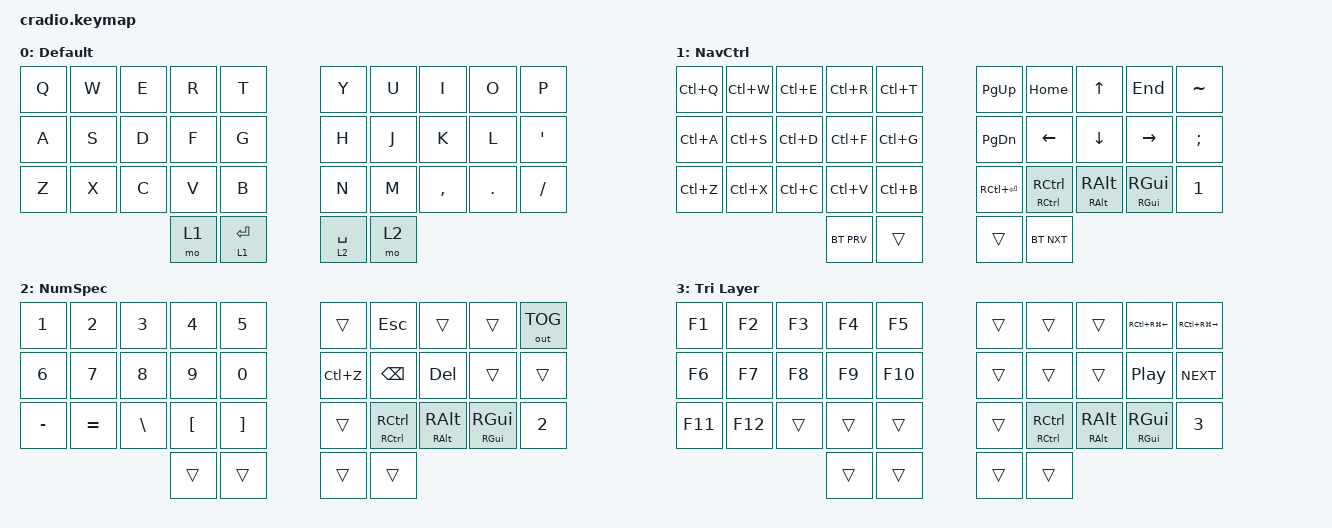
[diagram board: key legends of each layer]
// Copyright (c) 2022 The ZMK Contributors
// SPDX-License-Identifier: MIT

#include <behaviors.dtsi>
#include <dt-bindings/zmk/bt.h>
#include <dt-bindings/zmk/keys.h>
#include <dt-bindings/zmk/outputs.h>

&sk { release-after-ms = <3000>; };

/ {
    behaviors {
        osm: one_shot_mod {
            compatible = "zmk,behavior-hold-tap";
            #binding-cells = <2>;
            flavor = "balanced";
            tapping-term-ms = <200>;
            bindings = <&kp>, <&sk>;

            hold-while-undecided-linger;
        };
    };

    combos {
        compatible = "zmk,combos";

        combo_bootloader {
            timeout-ms = <100>;
            key-positions = <10 19>;
            bindings = <&bootloader>;
            layers = <3>;
        };

        combo_sys_reset {
            timeout-ms = <100>;
            key-positions = <0 9>;
            bindings = <&sys_reset>;
            layers = <3>;
        };

        unlock_studio {
            bindings = <&studio_unlock>;
            key-positions = <0 10>;
        };
    };

    conditional_layers {
        compatible = "zmk,conditional-layers";

        tri_layer {
            if-layers = <1 2>;
            then-layer = <3>;
        };
    };

    keymap {
        compatible = "zmk,keymap";

        default {
            display-name = "Default";
            bindings = <
&kp Q  &kp W  &kp E  &kp R  &kp T          &kp Y        &kp U  &kp I      &kp O    &kp P
&kp A  &kp S  &kp D  &kp F  &kp G          &kp H        &kp J  &kp K      &kp L    &kp APOS
&kp Z  &kp X  &kp C  &kp V  &kp B          &kp N        &kp M  &kp COMMA  &kp DOT  &kp FSLH
                     &mo 1  &lt 1 ENTER    &lt 2 SPACE  &mo 2
            >;
        };

        navctrl {
            display-name = "NavCtrl";
            bindings = <
&kp LC(Q)  &kp LC(W)  &kp LC(E)  &kp LC(R)   &kp LC(T)    &kp PG_UP      &kp HOME          &kp UP          &kp END         &kp TILDE
&kp LC(A)  &kp LC(S)  &kp LC(D)  &kp LC(F)   &kp LC(G)    &kp PG_DN      &kp LEFT          &kp DOWN        &kp RIGHT       &kp SEMI
&kp LC(Z)  &kp LC(X)  &kp LC(C)  &kp LC(V)   &kp LC(B)    &kp RC(ENTER)  &osm RCTRL RCTRL  &osm RALT RALT  &osm RGUI RGUI  &kp NUMBER_1
                                 &bt BT_PRV  &trans       &trans         &bt BT_NXT
            >;
        };

        numspec {
            display-name = "NumSpec";
            bindings = <
&kp NUMBER_1  &kp NUMBER_2  &kp NUMBER_3   &kp NUMBER_4      &kp NUMBER_5         &trans     &kp ESC           &trans          &trans          &out OUT_TOG
&kp NUMBER_6  &kp NUMBER_7  &kp NUMBER_8   &kp NUMBER_9      &kp NUMBER_0         &kp LC(Z)  &kp BSPC          &kp DEL         &trans          &trans
&kp MINUS     &kp EQUAL     &kp BACKSLASH  &kp LEFT_BRACKET  &kp RIGHT_BRACKET    &trans     &osm RCTRL RCTRL  &osm RALT RALT  &osm RGUI RGUI  &kp NUMBER_2
                                           &trans            &trans               &trans     &trans
            >;
        };

        tri_layer {
            display-name = "Tri Layer";
            bindings = <
&kp F1   &kp F2   &kp F3  &kp F4  &kp F5     &trans  &trans            &trans          &kp RC(RG(LEFT))  &kp RC(RG(RIGHT))
&kp F6   &kp F7   &kp F8  &kp F9  &kp F10    &trans  &trans            &trans          &kp C_PP          &kp C_NEXT
&kp F11  &kp F12  &trans  &trans  &trans     &trans  &osm RCTRL RCTRL  &osm RALT RALT  &osm RGUI RGUI    &kp NUMBER_3
                          &trans  &trans     &trans  &trans
            >;
        };

        // Empty layers reserved for use in ZMK Studio.
        // Ignored in regular builds; available in Studio-enabled builds.
        extra1 {
            status = "reserved";
        };

        extra2 {
            status = "reserved";
        };
    };
};
